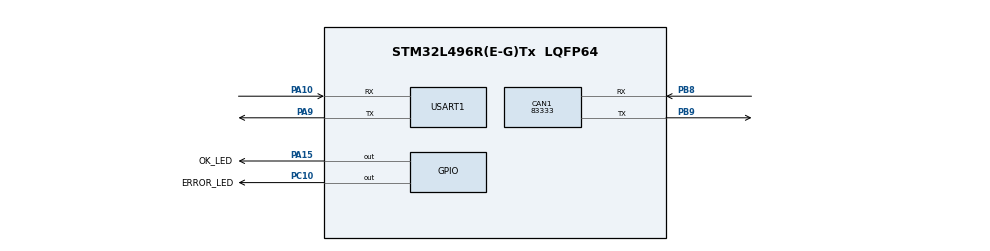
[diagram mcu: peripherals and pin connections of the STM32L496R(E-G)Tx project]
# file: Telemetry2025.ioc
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CAN1.CalculateBaudRate=83333
CAN1.CalculateTimeBit=12000
CAN1.CalculateTimeQuantum=4000.0
FREERTOS.Tasks01=heartbeatTask,24,128,StartHeartbeatTask,Default,NULL,Dynamic,NULL,NULL
FREERTOS.configUSE_NEWLIB_REENTRANT=1
Mcu.Family=STM32L4
Mcu.Name=STM32L496R(E-G)Tx
Mcu.Package=LQFP64
NVIC.CAN1_RX0_IRQn=true\:5\:0\:false\:false\:true\:true\:true\:true\:true
NVIC.PriorityGroup=NVIC_PRIORITYGROUP_4
NVIC.TIM6_DAC_IRQn=true\:15\:0\:false\:false\:true\:false\:false\:true\:true
NVIC.TimeBase=TIM6_DAC_IRQn
NVIC.TimeBaseIP=TIM6
PA10.Mode=Asynchronous
PA10.Signal=USART1_RX
PA13\ (JTMS/SWDIO).Mode=Serial_Wire
PA13\ (JTMS/SWDIO).Signal=SYS_JTMS-SWDIO
PA14\ (JTCK/SWCLK).Mode=Serial_Wire
PA14\ (JTCK/SWCLK).Signal=SYS_JTCK-SWCLK
PA15\ (JTDI).GPIO_Label=OK_LED
PA15\ (JTDI).Signal=GPIO_Output
PA9.Mode=Asynchronous
PA9.Signal=USART1_TX
PB8.GPIO_PuPd=GPIO_PULLUP
PB8.Mode=CAN_Activate
PB8.Signal=CAN1_RX
PB9.Mode=CAN_Activate
PB9.Signal=CAN1_TX
PC10.GPIO_Label=ERROR_LED
PC10.Signal=GPIO_Output
ProjectManager.HeapSize=0x200
ProjectManager.StackSize=0x400
ProjectManager.TargetToolchain=STM32CubeIDE
RCC.HSE_VALUE=8000000
RCC.HSI48_VALUE=48000000
RCC.HSI_VALUE=16000000
RCC.LSE_VALUE=32768
RCC.MSI_VALUE=4000000
RCC.VCOOutputFreq_Value=32000000
USART1.VirtualMode-Asynchronous=VM_ASYNC
VP_FREERTOS_VS_CMSIS_V2.Mode=CMSIS_V2
VP_SYS_VS_tim6.Mode=TIM6
board=custom

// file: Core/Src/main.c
/* USER CODE BEGIN Header */
/**
  ******************************************************************************
  * @file           : main.c
  * @brief          : Main program body
  ******************************************************************************
  * @attention
  *
  * Copyright (c) 2025 STMicroelectronics.
  * All rights reserved.
  *
  * This software is licensed under terms that can be found in the LICENSE file
  * in the root directory of this software component.
  * If no LICENSE file comes with this software, it is provided AS-IS.
  *
  ******************************************************************************
  */
/* USER CODE END Header */
#include "main.h"
#include "cmsis_os.h"

/* USER CODE BEGIN Includes */
#include "callbacks.h"
/* USER CODE END Includes */

CAN_HandleTypeDef hcan1;

UART_HandleTypeDef huart1;

/* Definitions for heartbeatTask */
osThreadId_t heartbeatTaskHandle;
const osThreadAttr_t heartbeatTask_attributes = {
  .name = "heartbeatTask",
  .stack_size = 128 * 4,
  .priority = (osPriority_t) osPriorityNormal,
};

void SystemClock_Config(void);
static void MX_GPIO_Init(void);
static void MX_USART1_UART_Init(void);
static void MX_CAN1_Init(void);
void StartHeartbeatTask(void *argument);

/* USER CODE BEGIN 0 */
uint8_t can_data_rx_flag = 0;

CAN_RxHeaderTypeDef RxHeader;
uint8_t RxData[8];

const CAN_FilterTypeDef can_filter_config = {
	.FilterActivation = CAN_FILTER_ENABLE,
	.FilterBank = 18, // which filter bank to use from the assigned ones
	.FilterFIFOAssignment = CAN_FILTER_FIFO0,
	.FilterIdHigh = 0x446<<5,
	.FilterIdLow = 0,
	.FilterMaskIdHigh = 0x446<<5,
	.FilterMaskIdLow = 0x0000,
	.FilterMode = CAN_FILTERMODE_IDMASK,
	.FilterScale = CAN_FILTERSCALE_32BIT,
	.SlaveStartFilterBank = 20 // how many filters to assign to the CAN1 (master can)
};

/* USER CODE END 0 */

int main(void)
{

  /* MCU Configuration--------------------------------------------------------*/

  /* Reset of all peripherals, Initializes the Flash interface and the Systick. */
  HAL_Init();

  /* Configure the system clock */
  SystemClock_Config();

  /* Initialize all configured peripherals */
  MX_GPIO_Init();
  MX_USART1_UART_Init();
  MX_CAN1_Init();
  /* USER CODE BEGIN 2 */
  HAL_CAN_ConfigFilter(&hcan1, &can_filter_config);

  if (HAL_CAN_ActivateNotification(&hcan1, CAN_IT_RX_FIFO0_MSG_PENDING) != HAL_OK)
  {
  	  Error_Handler();
  }
  /* USER CODE END 2 */

  /* Init scheduler */
  osKernelInitialize();

  /* Create the thread(s) */
  /* creation of heartbeatTask */
  heartbeatTaskHandle = osThreadNew(StartHeartbeatTask, NULL, &heartbeatTask_attributes);

  /* Start scheduler */
  osKernelStart();

  /* We should never get here as control is now taken by the scheduler */

  /* Infinite loop */
  while (1)
  {

  }
}

void SystemClock_Config(void)
{
  RCC_OscInitTypeDef RCC_OscInitStruct = {0};
  RCC_ClkInitTypeDef RCC_ClkInitStruct = {0};

  /** Configure the main internal regulator output voltage
  */
  if (HAL_PWREx_ControlVoltageScaling(PWR_REGULATOR_VOLTAGE_SCALE1) != HAL_OK)
  {
    Error_Handler();
  }

  /** Initializes the RCC Oscillators according to the specified parameters
  * in the RCC_OscInitTypeDef structure.
  */
  RCC_OscInitStruct.OscillatorType = RCC_OSCILLATORTYPE_MSI;
  RCC_OscInitStruct.MSIState = RCC_MSI_ON;
  RCC_OscInitStruct.MSICalibrationValue = 0;
  RCC_OscInitStruct.MSIClockRange = RCC_MSIRANGE_6;
  RCC_OscInitStruct.PLL.PLLState = RCC_PLL_NONE;
  if (HAL_RCC_OscConfig(&RCC_OscInitStruct) != HAL_OK)
  {
    Error_Handler();
  }

  /** Initializes the CPU, AHB and APB buses clocks
  */
  RCC_ClkInitStruct.ClockType = RCC_CLOCKTYPE_HCLK|RCC_CLOCKTYPE_SYSCLK
                              |RCC_CLOCKTYPE_PCLK1|RCC_CLOCKTYPE_PCLK2;
  RCC_ClkInitStruct.SYSCLKSource = RCC_SYSCLKSOURCE_MSI;
  RCC_ClkInitStruct.AHBCLKDivider = RCC_SYSCLK_DIV1;
  RCC_ClkInitStruct.APB1CLKDivider = RCC_HCLK_DIV1;
  RCC_ClkInitStruct.APB2CLKDivider = RCC_HCLK_DIV1;

  if (HAL_RCC_ClockConfig(&RCC_ClkInitStruct, FLASH_LATENCY_0) != HAL_OK)
  {
    Error_Handler();
  }
}

static void MX_CAN1_Init(void)
{

  hcan1.Instance = CAN1;
  hcan1.Init.Prescaler = 16;
  hcan1.Init.Mode = CAN_MODE_NORMAL;
  hcan1.Init.SyncJumpWidth = CAN_SJW_1TQ;
  hcan1.Init.TimeSeg1 = CAN_BS1_1TQ;
  hcan1.Init.TimeSeg2 = CAN_BS2_1TQ;
  hcan1.Init.TimeTriggeredMode = DISABLE;
  hcan1.Init.AutoBusOff = DISABLE;
  hcan1.Init.AutoWakeUp = DISABLE;
  hcan1.Init.AutoRetransmission = DISABLE;
  hcan1.Init.ReceiveFifoLocked = DISABLE;
  hcan1.Init.TransmitFifoPriority = DISABLE;
  if (HAL_CAN_Init(&hcan1) != HAL_OK)
  {
    Error_Handler();
  }

}

static void MX_USART1_UART_Init(void)
{

  huart1.Instance = USART1;
  huart1.Init.BaudRate = 115200;
  huart1.Init.WordLength = UART_WORDLENGTH_8B;
  huart1.Init.StopBits = UART_STOPBITS_1;
  huart1.Init.Parity = UART_PARITY_NONE;
  huart1.Init.Mode = UART_MODE_TX_RX;
  huart1.Init.HwFlowCtl = UART_HWCONTROL_NONE;
  huart1.Init.OverSampling = UART_OVERSAMPLING_16;
  huart1.Init.OneBitSampling = UART_ONE_BIT_SAMPLE_DISABLE;
  huart1.AdvancedInit.AdvFeatureInit = UART_ADVFEATURE_NO_INIT;
  if (HAL_UART_Init(&huart1) != HAL_OK)
  {
    Error_Handler();
  }

}

static void MX_GPIO_Init(void)
{
  GPIO_InitTypeDef GPIO_InitStruct = {0};

  /* GPIO Ports Clock Enable */
  __HAL_RCC_GPIOA_CLK_ENABLE();
  __HAL_RCC_GPIOC_CLK_ENABLE();
  __HAL_RCC_GPIOB_CLK_ENABLE();

  /*Configure GPIO pin Output Level */
  HAL_GPIO_WritePin(OK_LED_GPIO_Port, OK_LED_Pin, GPIO_PIN_RESET);

  /*Configure GPIO pin Output Level */
  HAL_GPIO_WritePin(ERROR_LED_GPIO_Port, ERROR_LED_Pin, GPIO_PIN_RESET);

  /*Configure GPIO pin : OK_LED_Pin */
  GPIO_InitStruct.Pin = OK_LED_Pin;
  GPIO_InitStruct.Mode = GPIO_MODE_OUTPUT_PP;
  GPIO_InitStruct.Pull = GPIO_NOPULL;
  GPIO_InitStruct.Speed = GPIO_SPEED_FREQ_LOW;
  HAL_GPIO_Init(OK_LED_GPIO_Port, &GPIO_InitStruct);

  /*Configure GPIO pin : ERROR_LED_Pin */
  GPIO_InitStruct.Pin = ERROR_LED_Pin;
  GPIO_InitStruct.Mode = GPIO_MODE_OUTPUT_PP;
  GPIO_InitStruct.Pull = GPIO_NOPULL;
  GPIO_InitStruct.Speed = GPIO_SPEED_FREQ_LOW;
  HAL_GPIO_Init(ERROR_LED_GPIO_Port, &GPIO_InitStruct);

}

void StartHeartbeatTask(void *argument)
{
  /* USER CODE BEGIN 5 */
  /* Infinite loop */
  for(;;)
  {
    osDelay(500);
    HAL_GPIO_TogglePin(OK_LED_GPIO_Port, OK_LED_Pin);
  }
  /* USER CODE END 5 */
}

void HAL_TIM_PeriodElapsedCallback(TIM_HandleTypeDef *htim)
{
  if (htim->Instance == TIM6) {
    HAL_IncTick();
  }
}

void Error_Handler(void)
{
  __disable_irq();
  while (1)
  {
  }
}
